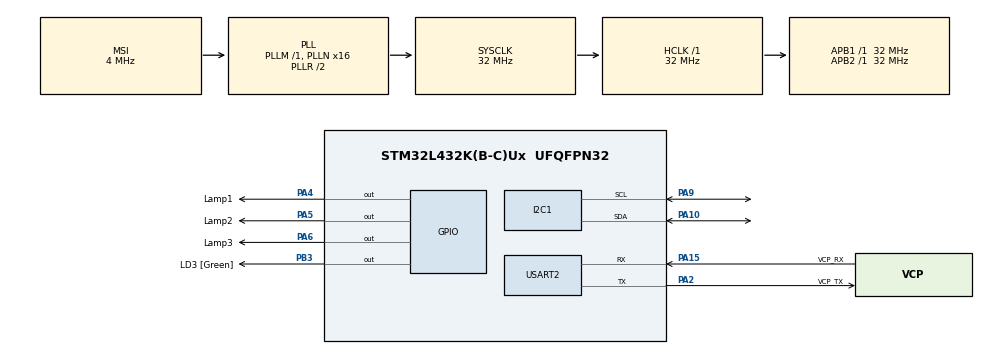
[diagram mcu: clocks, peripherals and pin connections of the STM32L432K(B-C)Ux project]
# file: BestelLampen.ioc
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Dma.I2C1_RX.0.Direction=DMA_PERIPH_TO_MEMORY
Dma.I2C1_RX.0.Instance=DMA1_Channel7
Dma.I2C1_RX.0.MemDataAlignment=DMA_MDATAALIGN_BYTE
Dma.I2C1_RX.0.MemInc=DMA_MINC_ENABLE
Dma.I2C1_RX.0.Mode=DMA_NORMAL
Dma.I2C1_RX.0.PeriphDataAlignment=DMA_PDATAALIGN_BYTE
Dma.I2C1_RX.0.PeriphInc=DMA_PINC_DISABLE
Dma.I2C1_RX.0.Priority=DMA_PRIORITY_LOW
Dma.I2C1_TX.1.Direction=DMA_MEMORY_TO_PERIPH
Dma.I2C1_TX.1.Instance=DMA1_Channel6
Dma.I2C1_TX.1.MemDataAlignment=DMA_MDATAALIGN_BYTE
Dma.I2C1_TX.1.MemInc=DMA_MINC_ENABLE
Dma.I2C1_TX.1.Mode=DMA_NORMAL
Dma.I2C1_TX.1.PeriphDataAlignment=DMA_PDATAALIGN_BYTE
Dma.I2C1_TX.1.PeriphInc=DMA_PINC_DISABLE
Dma.I2C1_TX.1.Priority=DMA_PRIORITY_LOW
Dma.Request0=I2C1_RX
Dma.Request1=I2C1_TX
I2C1.OwnAddress=0x30
I2C1.Timing=0x00707CBB
Mcu.Family=STM32L4
Mcu.Name=STM32L432K(B-C)Ux
Mcu.Package=UFQFPN32
NVIC.DMA1_Channel6_IRQn=true\:0\:0\:false\:false\:true\:false\:true\:true
NVIC.DMA1_Channel7_IRQn=true\:0\:0\:false\:false\:true\:false\:true\:true
NVIC.I2C1_ER_IRQn=true\:0\:0\:false\:false\:true\:true\:true\:true
NVIC.I2C1_EV_IRQn=true\:0\:0\:false\:false\:true\:true\:true\:true
NVIC.PriorityGroup=NVIC_PRIORITYGROUP_4
PA0.GPIO_Label=MCO [High speed clock in]
PA0.Mode=HSE-External-Clock-Source-for-LittleOrca
PA0.Signal=RCC_CK_IN
PA10.GPIO_Pu=GPIO_PULLUP
PA10.Mode=I2C
PA10.Signal=I2C1_SDA
PA13\ (JTMS-SWDIO).GPIO_Label=SWDIO
PA13\ (JTMS-SWDIO).Mode=Serial_Wire
PA13\ (JTMS-SWDIO).Signal=SYS_JTMS-SWDIO
PA14\ (JTCK-SWCLK).GPIO_Label=SWCLK
PA14\ (JTCK-SWCLK).Mode=Serial_Wire
PA14\ (JTCK-SWCLK).Signal=SYS_JTCK-SWCLK
PA15\ (JTDI).GPIO_Label=VCP_RX
PA15\ (JTDI).Mode=Asynchronous
PA15\ (JTDI).Signal=USART2_RX
PA2.GPIO_Label=VCP_TX
PA2.Mode=Asynchronous
PA2.Signal=USART2_TX
PA4.GPIO_Label=Lamp1
PA4.Signal=GPIO_Output
PA5.GPIO_Label=Lamp2
PA5.Signal=GPIO_Output
PA6.GPIO_Label=Lamp3
PA6.Signal=GPIO_Output
PA9.GPIO_Pu=GPIO_PULLUP
PA9.Mode=I2C
PA9.Signal=I2C1_SCL
PB3\ (JTDO-TRACESWO).GPIO_Label=LD3 [Green]
PB3\ (JTDO-TRACESWO).Signal=GPIO_Output
PC14-OSC32_IN\ (PC14).Mode=LSE-External-Oscillator
PC14-OSC32_IN\ (PC14).Signal=RCC_OSC32_IN
PC15-OSC32_OUT\ (PC15).Mode=LSE-External-Oscillator
PC15-OSC32_OUT\ (PC15).Signal=RCC_OSC32_OUT
ProjectManager.HeapSize=0x200
ProjectManager.StackSize=0x400
ProjectManager.TargetToolchain=STM32CubeIDE
RCC.AHBFreq_Value=32000000
RCC.APB1Freq_Value=32000000
RCC.APB1TimFreq_Value=32000000
RCC.APB2Freq_Value=32000000
RCC.APB2TimFreq_Value=32000000
RCC.CortexFreq_Value=32000000
RCC.HCLKFreq_Value=32000000
RCC.HSE_VALUE=8000000
RCC.HSI16_VALUE=16000000
RCC.HSI48_VALUE=48000000
RCC.HSI_VALUE=16000000
RCC.MSI_VALUE=4000000
RCC.PLLMUL=RCC_PLLMUL_4
RCC.PLLN=16
RCC.SYSCLKFreq_VALUE=32000000
RCC.SYSCLKSource=RCC_SYSCLKSOURCE_PLLCLK
RCC.VCOOutputFreq_Value=64000000
USART2.VirtualMode-Asynchronous=VM_ASYNC
board=NUCLEO-L432KC

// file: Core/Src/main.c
/* USER CODE BEGIN Header */
/**
  ******************************************************************************
  * @file           : main.c
  * @brief          : Main program body
  ******************************************************************************
  * @attention
  *
  * Copyright (c) 2024 STMicroelectronics.
  * All rights reserved.
  *
  * This software is licensed under terms that can be found in the LICENSE file
  * in the root directory of this software component.
  * If no LICENSE file comes with this software, it is provided AS-IS.
  *
  ******************************************************************************
  */
/* USER CODE END Header */
#include "main.h"

/* USER CODE BEGIN Includes */
#include <string.h>
#include <stdio.h>
#include <stdlib.h>
/* USER CODE END Includes */

I2C_HandleTypeDef hi2c1;
DMA_HandleTypeDef hdma_i2c1_rx;
DMA_HandleTypeDef hdma_i2c1_tx;

UART_HandleTypeDef huart2;

/* USER CODE BEGIN PV */
uint8_t RX_Buffer[1];
/* USER CODE END PV */

void SystemClock_Config(void);
static void MX_GPIO_Init(void);
static void MX_DMA_Init(void);
static void MX_USART2_UART_Init(void);
static void MX_I2C1_Init(void);

int main(void)
{

  /* MCU Configuration--------------------------------------------------------*/

  /* Reset of all peripherals, Initializes the Flash interface and the Systick. */
  HAL_Init();

  /* Configure the system clock */
  SystemClock_Config();

  /* Initialize all configured peripherals */
  MX_GPIO_Init();
  MX_DMA_Init();
  MX_USART2_UART_Init();
  MX_I2C1_Init();
  /* USER CODE BEGIN 2 */

  HAL_I2C_ListenCpltCallback(&hi2c1);

  /* USER CODE END 2 */

  /* Infinite loop */
  /* USER CODE BEGIN WHILE */
  while (1)
  {
	  //check I2C
	  HAL_I2C_Slave_Receive_IT(&hi2c1, RX_Buffer, sizeof(RX_Buffer));

    /* USER CODE END WHILE */

  }
}

void SystemClock_Config(void)
{
  RCC_OscInitTypeDef RCC_OscInitStruct = {0};
  RCC_ClkInitTypeDef RCC_ClkInitStruct = {0};

  /** Configure the main internal regulator output voltage
  */
  if (HAL_PWREx_ControlVoltageScaling(PWR_REGULATOR_VOLTAGE_SCALE1) != HAL_OK)
  {
    Error_Handler();
  }

  /** Configure LSE Drive Capability
  */
  HAL_PWR_EnableBkUpAccess();
  __HAL_RCC_LSEDRIVE_CONFIG(RCC_LSEDRIVE_LOW);

  /** Initializes the RCC Oscillators according to the specified parameters
  * in the RCC_OscInitTypeDef structure.
  */
  RCC_OscInitStruct.OscillatorType = RCC_OSCILLATORTYPE_LSE|RCC_OSCILLATORTYPE_MSI;
  RCC_OscInitStruct.LSEState = RCC_LSE_ON;
  RCC_OscInitStruct.MSIState = RCC_MSI_ON;
  RCC_OscInitStruct.MSICalibrationValue = 0;
  RCC_OscInitStruct.MSIClockRange = RCC_MSIRANGE_6;
  RCC_OscInitStruct.PLL.PLLState = RCC_PLL_ON;
  RCC_OscInitStruct.PLL.PLLSource = RCC_PLLSOURCE_MSI;
  RCC_OscInitStruct.PLL.PLLM = 1;
  RCC_OscInitStruct.PLL.PLLN = 16;
  RCC_OscInitStruct.PLL.PLLP = RCC_PLLP_DIV7;
  RCC_OscInitStruct.PLL.PLLQ = RCC_PLLQ_DIV2;
  RCC_OscInitStruct.PLL.PLLR = RCC_PLLR_DIV2;
  if (HAL_RCC_OscConfig(&RCC_OscInitStruct) != HAL_OK)
  {
    Error_Handler();
  }

  /** Initializes the CPU, AHB and APB buses clocks
  */
  RCC_ClkInitStruct.ClockType = RCC_CLOCKTYPE_HCLK|RCC_CLOCKTYPE_SYSCLK
                              |RCC_CLOCKTYPE_PCLK1|RCC_CLOCKTYPE_PCLK2;
  RCC_ClkInitStruct.SYSCLKSource = RCC_SYSCLKSOURCE_PLLCLK;
  RCC_ClkInitStruct.AHBCLKDivider = RCC_SYSCLK_DIV1;
  RCC_ClkInitStruct.APB1CLKDivider = RCC_HCLK_DIV1;
  RCC_ClkInitStruct.APB2CLKDivider = RCC_HCLK_DIV1;

  if (HAL_RCC_ClockConfig(&RCC_ClkInitStruct, FLASH_LATENCY_1) != HAL_OK)
  {
    Error_Handler();
  }

  /** Enable MSI Auto calibration
  */
  HAL_RCCEx_EnableMSIPLLMode();
}

static void MX_I2C1_Init(void)
{

  hi2c1.Instance = I2C1;
  hi2c1.Init.Timing = 0x00707CBB;
  hi2c1.Init.OwnAddress1 = 96;
  hi2c1.Init.AddressingMode = I2C_ADDRESSINGMODE_7BIT;
  hi2c1.Init.DualAddressMode = I2C_DUALADDRESS_DISABLE;
  hi2c1.Init.OwnAddress2 = 0;
  hi2c1.Init.OwnAddress2Masks = I2C_OA2_NOMASK;
  hi2c1.Init.GeneralCallMode = I2C_GENERALCALL_DISABLE;
  hi2c1.Init.NoStretchMode = I2C_NOSTRETCH_DISABLE;
  if (HAL_I2C_Init(&hi2c1) != HAL_OK)
  {
    Error_Handler();
  }

  /** Configure Analogue filter
  */
  if (HAL_I2CEx_ConfigAnalogFilter(&hi2c1, I2C_ANALOGFILTER_ENABLE) != HAL_OK)
  {
    Error_Handler();
  }

  /** Configure Digital filter
  */
  if (HAL_I2CEx_ConfigDigitalFilter(&hi2c1, 0) != HAL_OK)
  {
    Error_Handler();
  }

}

static void MX_USART2_UART_Init(void)
{

  huart2.Instance = USART2;
  huart2.Init.BaudRate = 115200;
  huart2.Init.WordLength = UART_WORDLENGTH_8B;
  huart2.Init.StopBits = UART_STOPBITS_1;
  huart2.Init.Parity = UART_PARITY_NONE;
  huart2.Init.Mode = UART_MODE_TX_RX;
  huart2.Init.HwFlowCtl = UART_HWCONTROL_NONE;
  huart2.Init.OverSampling = UART_OVERSAMPLING_16;
  huart2.Init.OneBitSampling = UART_ONE_BIT_SAMPLE_DISABLE;
  huart2.AdvancedInit.AdvFeatureInit = UART_ADVFEATURE_NO_INIT;
  if (HAL_UART_Init(&huart2) != HAL_OK)
  {
    Error_Handler();
  }

}

static void MX_DMA_Init(void)
{

  /* DMA controller clock enable */
  __HAL_RCC_DMA1_CLK_ENABLE();

  /* DMA interrupt init */
  /* DMA1_Channel6_IRQn interrupt configuration */
  HAL_NVIC_SetPriority(DMA1_Channel6_IRQn, 0, 0);
  HAL_NVIC_EnableIRQ(DMA1_Channel6_IRQn);
  /* DMA1_Channel7_IRQn interrupt configuration */
  HAL_NVIC_SetPriority(DMA1_Channel7_IRQn, 0, 0);
  HAL_NVIC_EnableIRQ(DMA1_Channel7_IRQn);

}

static void MX_GPIO_Init(void)
{
  GPIO_InitTypeDef GPIO_InitStruct = {0};

  /* GPIO Ports Clock Enable */
  __HAL_RCC_GPIOC_CLK_ENABLE();
  __HAL_RCC_GPIOA_CLK_ENABLE();
  __HAL_RCC_GPIOB_CLK_ENABLE();

  /*Configure GPIO pin Output Level */
  HAL_GPIO_WritePin(GPIOA, Lamp1_Pin|Lamp2_Pin|Lamp3_Pin, GPIO_PIN_RESET);

  /*Configure GPIO pin Output Level */
  HAL_GPIO_WritePin(LD3_GPIO_Port, LD3_Pin, GPIO_PIN_RESET);

  /*Configure GPIO pins : Lamp1_Pin Lamp2_Pin Lamp3_Pin */
  GPIO_InitStruct.Pin = Lamp1_Pin|Lamp2_Pin|Lamp3_Pin;
  GPIO_InitStruct.Mode = GPIO_MODE_OUTPUT_PP;
  GPIO_InitStruct.Pull = GPIO_NOPULL;
  GPIO_InitStruct.Speed = GPIO_SPEED_FREQ_LOW;
  HAL_GPIO_Init(GPIOA, &GPIO_InitStruct);

  /*Configure GPIO pin : LD3_Pin */
  GPIO_InitStruct.Pin = LD3_Pin;
  GPIO_InitStruct.Mode = GPIO_MODE_OUTPUT_PP;
  GPIO_InitStruct.Pull = GPIO_NOPULL;
  GPIO_InitStruct.Speed = GPIO_SPEED_FREQ_LOW;
  HAL_GPIO_Init(LD3_GPIO_Port, &GPIO_InitStruct);

}

/* USER CODE BEGIN 4 */
void HAL_I2C_SlaveRxCpltCallback(I2C_HandleTypeDef *hi2c)
{
    if (hi2c->Instance == I2C1) //Controle waar de interupt vandaan komt.
    {
    	uint8_t request = RX_Buffer[0];

    	switch (request)
    	{
  	    case 0x01:
  	    {
  	    	HAL_GPIO_TogglePin(GPIOA, GPIO_PIN_4); //Veranderd de status van pin 4
  	    	break;
  	    }
  	    case 0x02:
  	    {
  	    	HAL_GPIO_TogglePin(GPIOA, GPIO_PIN_5); // Veranderd de status van pin 5
  	    	break;
  	    }
  	    case 0x03:
  	    {
  	    	HAL_GPIO_TogglePin(GPIOA, GPIO_PIN_6);
  	    	break;
  	    }
  	    default:
  	    {
  	    	break;
  	    }
  	  	}

    	//restart function
        HAL_I2C_Slave_Receive_IT(hi2c, RX_Buffer, sizeof(RX_Buffer));
    }
}

/* USER CODE END 4 */

void Error_Handler(void)
{
  __disable_irq();
  while (1)
  {
  }
}
